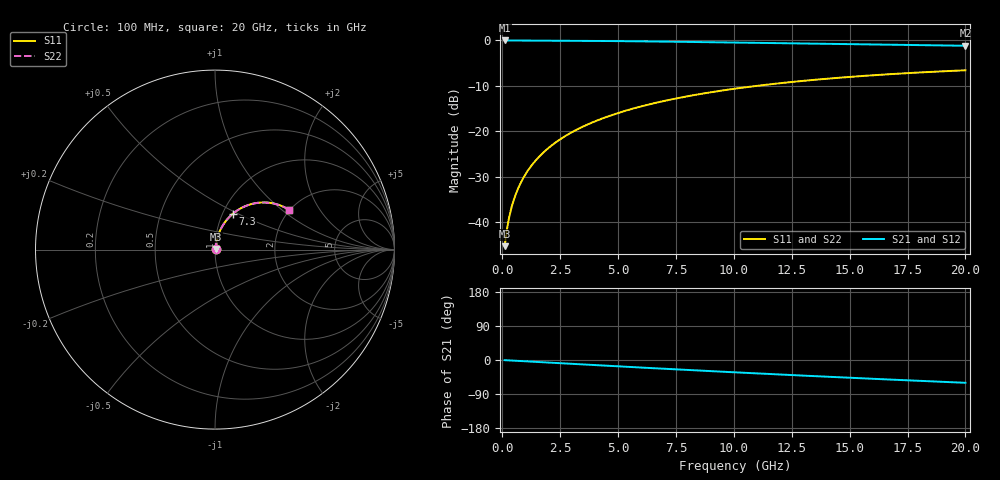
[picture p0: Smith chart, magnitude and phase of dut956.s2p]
! Touchstone file exported from HFSS 2026.1.0
!  File:  C:/ffzhzh/LocalFiles/Ansys_Project_Files/temp_train_TMRDL_956_1783158758_55132.aedt
!  Generated:  05:54:07 PM Jul  4, 2026
!  Design:  TMRDL
!  Project:  temp_train_TMRDL_956_1783158758_55132
! Variables:
!  h_bsmrdl = 2um
!  h_ox = 20um
!  h_rdl = 5um
!  h_sub = 80um
!  h_tmrdl = 3.49um
!  h_tsv = 80um
!  h_via = 3um
!  l_bsmrdl = 300um
!  l_sub = 1352.84um
!  l_tmrdl = 952.84um
!  m_sub = 200um
!  pitch = 52.22um
!  r_tsv = 6um
!  s_tmrdl = 10um
!  w_bsmrdl = 18um
!  w_sub = 500um
!  w_tmrdl = 25.46um
!  x_tsv_center1 = 965.57um
!  x_tsv_center2 = 1283.57um
!  x_tsv_center3 = 2261.87um
!  x_tsv_center4 = 2579.87um
!  x_tsv_center5 = 3558.17um
!  x_tsv_center6 = 3876.17um
# GHz S MA R 50.000000
! Terminal data exported
! Port[1] = TM_RDL1_1_T1
! Port[2] = TM_RDL1_1_T2
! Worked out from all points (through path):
!   200 points, 100 MHz to 20 GHz, reference 50 ohm
!   highest |S21| = -0.04 dB at 100 MHz (marker M1); lowest = -1.2 dB at 20 GHz (marker M2)
!   group delay of S21, straight-line fit = 8.36 ps
!   lowest |S11| = -45.3 dB at 100 MHz (marker M3), VSWR 1.01, Z = 50.4 + j0.365 ohm
!   |S11| at or under -10 dB: start of sweep to 11.04 GHz
!   |S22| runs from -45.3 to -6.6 dB; largest |S21 - S12| = 6.6e-15
!   S11 on the Smith chart (normalised r, x): 100 MHz: 1.01, +0.01; 7.3 GHz: 1.12, +0.47; 20 GHz: 1.97, +1.12
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0.1  0.005425 41.8  0.996 -0.4  0.996 -0.4  0.005425 41.8
! Gamma 0 0 0 0
! Port Impedance 50 0 50 0
0.2  0.008316 58.4  0.9957 -0.7  0.9957 -0.7  0.008316 58.4
0.3  0.01141 65.6  0.9954 -1.1  0.9954 -1.1  0.01141 65.6
0.4  0.01453 69.7  0.9952 -1.4  0.9952 -1.4  0.01453 69.7
0.5  0.01765 72.3  0.995 -1.7  0.995 -1.7  0.01765 72.3
0.6  0.02078 74.1  0.9948 -2.1  0.9948 -2.1  0.02078 74.1
0.8  0.0271 76.3  0.9945 -2.7  0.9945 -2.7  0.0271 76.3
1.1  0.03666 78.0  0.9941 -3.7  0.9941 -3.7  0.03666 78.0
1.3  0.04305 78.4  0.9937 -4.4  0.9937 -4.4  0.04306 78.4
1.6  0.05267 78.6  0.9931 -5.4  0.9931 -5.4  0.05267 78.6
2.1  0.06866 78.1  0.9919 -7.1  0.9919 -7.1  0.06866 78.1
2.7  0.08771 76.9  0.9901 -9.1  0.9901 -9.1  0.08771 76.9
3.5  0.1128 74.8  0.987 -11.8  0.987 -11.8  0.1128 74.8
4.2  0.1342 72.9  0.9838 -14.1  0.9838 -14.1  0.1343 72.8
5  0.1583 70.5  0.9797 -16.7  0.9797 -16.7  0.1583 70.5
6.8  0.2098 65.0  0.9686 -22.5  0.9686 -22.5  0.2099 65.0
7.3  0.2235 63.5  0.9653 -24.1  0.9653 -24.1  0.2235 63.5
8.6  0.2577 59.6  0.956 -28.1  0.956 -28.1  0.2577 59.6
10.1  0.2946 55.2  0.9446 -32.7  0.9446 -32.7  0.2946 55.2
13.4  0.3658 45.8  0.9185 -42.4  0.9185 -42.4  0.3658 45.8
16.7  0.4233 36.9  0.8932 -51.5  0.8932 -51.5  0.4233 36.8
20  0.4677 28.4  0.8709 -60.2  0.8709 -60.2  0.4678 28.3
